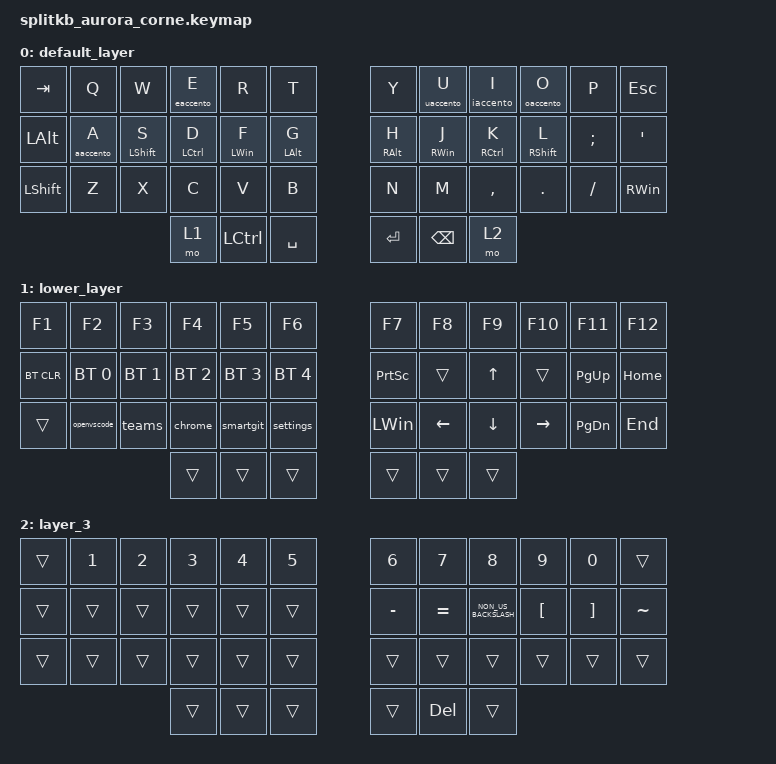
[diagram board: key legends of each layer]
/*
 * Copyright (c) 2020 The ZMK Contributors
 *
 * SPDX-License-Identifier: MIT
 */

#include <behaviors.dtsi>
#include <dt-bindings/zmk/bt.h>
#include <dt-bindings/zmk/keys.h>

/ {
    macros {
        openvscode: new_macro {
            compatible = "zmk,behavior-macro";
            #binding-cells = <0>;
            bindings = <&kp LEFT_WIN &kp V &kp S &kp C &kp O &kp D &kp E &kp ENTER>;
            label = "NEW_MACRO";
        };

        teams: teams {
            compatible = "zmk,behavior-macro";
            #binding-cells = <0>;
            bindings = <&kp LEFT_WIN &kp T &kp E &kp A &kp M &kp S &kp ENTER>;
            label = "TEAMS";
        };

        chrome: chrome {
            compatible = "zmk,behavior-macro";
            #binding-cells = <0>;
            bindings = <&kp LEFT_WIN &kp C &kp H &kp R &kp O &kp M &kp E &kp ENTER>;
            label = "CHROME";
        };

        smartgit: smartgit {
            compatible = "zmk,behavior-macro";
            #binding-cells = <0>;
            bindings = <&kp LEFT_WIN &kp S &kp M &kp A &kp R &kp T &kp G &kp I &kp T &kp ENTER>;
            label = "SMARTGIT";
        };

        aaccento: aaccento {
            compatible = "zmk,behavior-macro";
            #binding-cells = <0>;
            bindings = <&kp A &kp SQT>;
            label = "AACCENTO";
        };

        eaccento: eaccento {
            compatible = "zmk,behavior-macro";
            #binding-cells = <0>;
            bindings = <&kp E &kp SQT>;
            label = "EACCENTO";
        };

        iaccento: iaccento {
            compatible = "zmk,behavior-macro";
            #binding-cells = <0>;
            bindings = <&kp I &kp SQT>;
            label = "IACCENTO";
        };

        oaccento: oaccento {
            compatible = "zmk,behavior-macro";
            #binding-cells = <0>;
            bindings = <&kp O &kp SQT>;
            label = "OACCENTO";
        };

        uaccento: uaccento {
            compatible = "zmk,behavior-macro";
            #binding-cells = <0>;
            bindings = <&kp U &kp SQT>;
            label = "UACCENTO";
        };

        settings: settings {
            compatible = "zmk,behavior-macro";
            #binding-cells = <0>;
            bindings = <&kp LEFT_WIN &kp S &kp E &kp T &kp T &kp I &kp N &kp G &kp S &kp ENTER>;
            label = "SETTINGS";
        };

        files: files {
            compatible = "zmk,behavior-macro";
            #binding-cells = <0>;
            bindings = <&kp LEFT_WIN &kp F &kp I &kp L &kp E &kp S &kp ENTER>;
            label = "FILES";
        };
    };

    behaviors {
        lh_pht: lh_pht {
            compatible = "zmk,behavior-hold-tap";
            label = "LH_PHT";
            bindings = <&kp>, <&kp>;

            #binding-cells = <2>;
            tapping-term-ms = <200>;
            quick-tap-ms = <200>;
            hold-trigger-key-positions = <14 15 16 17>;
            flavor = "tap-preferred";
        };

        rh_pht: rh_pht {
            compatible = "zmk,behavior-hold-tap";
            label = "RH_PHT";
            bindings = <&kp>, <&kp>;

            #binding-cells = <2>;
            tapping-term-ms = <200>;
            quick-tap-ms = <200>;
            hold-trigger-key-positions = <18 19 20 21>;
            flavor = "tap-preferred";
        };

        a_ccento: a_ccento {
            compatible = "zmk,behavior-hold-tap";
            label = "A_CCENTO";
            bindings = <&aaccento>, <&kp>;

            #binding-cells = <2>;
            hold-trigger-key-positions = <13>;
            flavor = "tap-preferred";
            tapping-term-ms = <200>;
        };

        e_accento: e_accento {
            compatible = "zmk,behavior-hold-tap";
            label = "E_ACCENTO";
            bindings = <&eaccento>, <&kp>;

            #binding-cells = <2>;
            flavor = "tap-preferred";
            tapping-term-ms = <200>;
            hold-trigger-key-positions = <3>;
        };

        i_accento: i_accento {
            compatible = "zmk,behavior-hold-tap";
            label = "I_ACCENTO";
            #binding-cells = <2>;
            flavor = "tap-preferred";
            tapping-term-ms = <200>;
            bindings = <&iaccento>, <&kp>;

            hold-trigger-key-positions = <8>;
        };

        o_accento: o_accento {
            compatible = "zmk,behavior-hold-tap";
            label = "O_ACCENTO";
            #binding-cells = <2>;
            flavor = "tap-preferred";
            tapping-term-ms = <200>;
            bindings = <&oaccento>, <&kp>;

            hold-trigger-key-positions = <9>;
        };

        u_accento: u_accento {
            compatible = "zmk,behavior-hold-tap";
            label = "U_ACCENTO";
            #binding-cells = <2>;
            flavor = "tap-preferred";
            tapping-term-ms = <200>;
            bindings = <&uaccento>, <&kp>;

            hold-trigger-key-positions = <7>;
        };
    };

    combos { compatible = "zmk,combos"; };

    keymap {
        compatible = "zmk,keymap";

        default_layer {
            bindings = <
&kp TAB         &kp Q          &kp W                 &e_accento 0 E          &kp R               &kp T                 &kp Y                &u_accento 0 U       &i_accento 0 I           &o_accento 0 O         &kp P          &kp ESC
&kp LEFT_ALT    &a_ccento 0 A  &lh_pht LEFT_SHIFT S  &lh_pht LEFT_CONTROL D  &lh_pht LEFT_WIN F  &lh_pht LEFT_ALT G    &rh_pht RIGHT_ALT H  &rh_pht RIGHT_WIN J  &rh_pht RIGHT_CONTROL K  &rh_pht RIGHT_SHIFT L  &kp SEMICOLON  &kp SQT
&kp LEFT_SHIFT  &kp Z          &kp X                 &kp C                   &kp V               &kp B                 &kp N                &kp M                &kp COMMA                &kp DOT                &kp FSLH       &kp RIGHT_WIN
                                                     &mo 1                   &kp LEFT_CONTROL    &kp SPACE             &kp RET              &kp BACKSPACE        &mo 2
            >;

            //sensor-bindings = <&inc_dec_kp C_VOL_UP C_VOL_DN>;
        };

        lower_layer {
            bindings = <
&kp F1      &kp F2        &kp F3        &kp F4        &kp F5        &kp F6          &kp F7           &kp F8          &kp F9          &kp F10    &kp F11        &kp F12
&bt BT_CLR  &bt BT_SEL 0  &bt BT_SEL 1  &bt BT_SEL 2  &bt BT_SEL 3  &bt BT_SEL 4    &kp PRINTSCREEN  &trans          &kp UP          &trans     &kp PAGE_UP    &kp HOME
&trans      &openvscode   &teams        &chrome       &smartgit     &settings       &kp LEFT_WIN     &kp LEFT_ARROW  &kp DOWN_ARROW  &kp RIGHT  &kp PAGE_DOWN  &kp END
                                        &trans        &trans        &trans          &trans           &trans          &trans
            >;

            //sensor-bindings = <&inc_dec_kp C_VOL_UP C_VOL_DN>;
        };

        layer_3 {
            bindings = <
&trans  &kp NUMBER_1  &kp NUMBER_2  &kp NUMBER_3  &kp NUMBER_4  &kp N5    &kp NUMBER_6  &kp N7      &kp N8                &kp N9            &kp N0             &trans
&trans  &trans        &trans        &trans        &trans        &trans    &kp MINUS     &kp EQUAL   &kp NON_US_BACKSLASH  &kp LEFT_BRACKET  &kp RIGHT_BRACKET  &kp TILDE
&trans  &trans        &trans        &trans        &trans        &trans    &trans        &trans      &trans                &trans            &trans             &trans
                                    &trans        &trans        &trans    &trans        &kp DELETE  &trans
            >;
        };
    };
};
